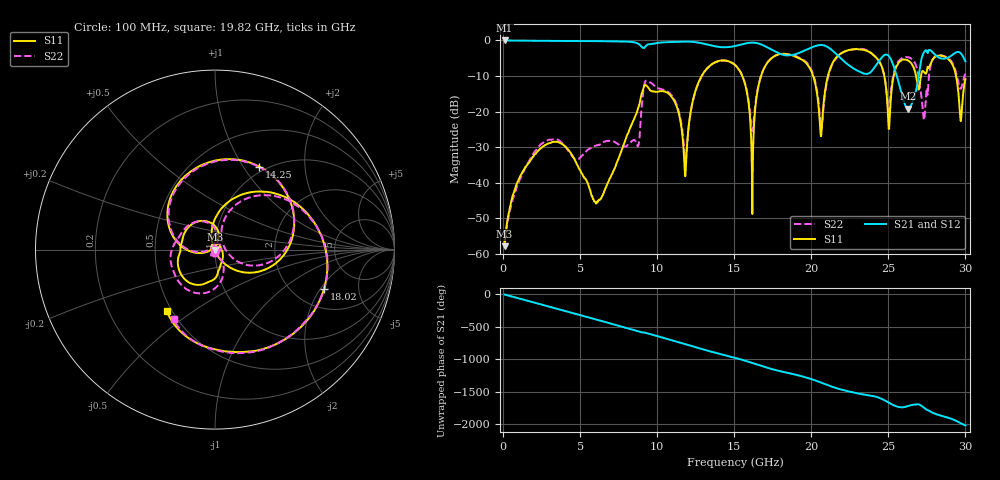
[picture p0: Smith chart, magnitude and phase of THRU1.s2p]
!Keysight Technologies,N5247B,MY61255062,A.15.50.07
!Date: Thursday, February 06, 2025 11:58:49
!Correction: S11(Cdelta 2-Port  )
!S21(Cdelta 2-Port  )
!S12(Cdelta 2-Port  )
!S22(Cdelta 2-Port  )
!S2P File: Measurements: S11, S21, S12, S22:
# Hz S  MA  R 50
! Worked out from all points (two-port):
!   1197 points, 100 MHz to 30 GHz, reference 50 ohm
!   highest |S21| = -0.01 dB at 100 MHz (marker M1); lowest = -19.1 dB at 26.27 GHz (marker M2)
!   |S21| within 3 dB of the highest: start of sweep to 17.61 GHz; 19.47 GHz to 21.42 GHz (1.946 GHz wide, 9.52 % of centre)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
!   lowest |S11| = -57.8 dB at 100 MHz (marker M3), VSWR 1.00, Z = 50.1 + j0.019 ohm
!   |S11| at or under -10 dB: start of sweep to 12.89 GHz; 15.52 GHz to 16.74 GHz (1.218 GHz wide, 7.55 % of centre); 20.12 GHz to 21.08 GHz (954.9 MHz wide, 4.64 % of centre)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
!   |S22| runs from -56.7 to -2.4 dB; largest |S21 - S12| = 0.00077
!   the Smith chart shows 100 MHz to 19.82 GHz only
!   S11 on the Smith chart (normalised r, x): 100 MHz: 1.00, +0.00; 14.25 GHz: 0.93, +1.18; 18.02 GHz: 2.88, -2.17; 19.82 GHz: 0.47, -0.39
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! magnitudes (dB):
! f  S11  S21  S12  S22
! 100 MHz  -57.8  0.0  0.0  -56.7
! 2.375 GHz  -30.6  -0.1  -0.1  -29.5
! 5.1 GHz  -37.3  -0.2  -0.2  -32.5
! 6.25 GHz  -44.8  -0.2  -0.2  -29.3
! 10.07 GHz  -14.4  -0.7  -0.7  -13.5
! 11.82 GHz  -38.2  -0.3  -0.3  -33.7
! 12.6 GHz  -12.7  -0.6  -0.6  -12.8
! 14.25 GHz  -5.6  -1.9  -1.9  -5.6
! 15.05 GHz  -6.9  -1.6  -1.6  -6.8
! 16.18 GHz  -48.8  -0.6  -0.6  -25.5
! 16.73 GHz  -10.2  -1.1  -1.1  -10.1
! 18.02 GHz  -3.8  -3.9  -3.9  -3.8
! 19.82 GHz  -7.2  -2.4  -2.4  -6.9
! 20.05 GHz  -9.1  -1.9  -1.9  -8.7
! 20.62 GHz  -26.9  -1.3  -1.3  -24.5
! 21.5 GHz  -5.5  -3.3  -3.3  -5.7
! 23.73 GHz  -3.2  -9.2  -9.3  -3.0
! 25.02 GHz  -24.9  -4.3  -4.3  -19.9
! 26.27 GHz  -5.6  -19.1  -19.2  -4.7
! 27.3 GHz  -8.8  -3.4  -3.4  -22.2
! 28.02 GHz  -4.6  -4.0  -4.0  -4.5
! 30 GHz  -10.8  -5.9  -5.9  -9.2
